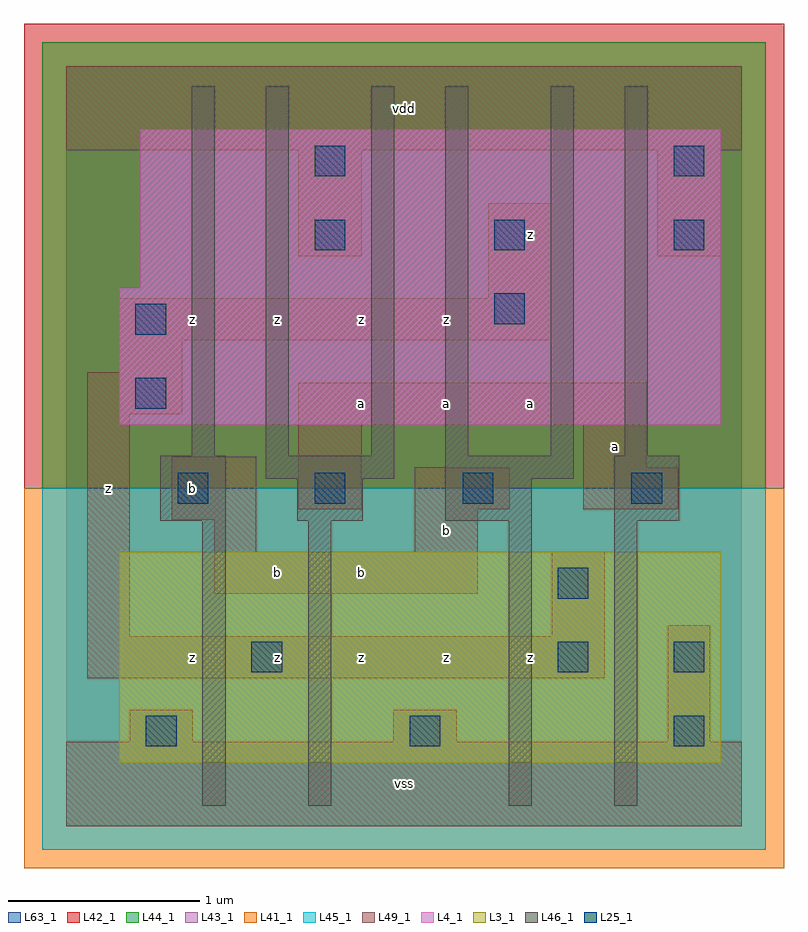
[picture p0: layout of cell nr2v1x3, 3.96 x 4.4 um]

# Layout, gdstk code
import gdstk
lib = gdstk.Library(unit=1e-6, precision=1e-09)
def R(c, l, rs):  # rectangles x0, y0, x1, y1
    for r in rs: c.add(gdstk.rectangle(r[:2], r[2:], *l))
def A(c, l, x, y, w, h, nx, ny, dx, dy):  # array of equal rectangles
    R(c, l, [(x+i*dx, y+j*dy, x+i*dx+w, y+j*dy+h) for i in range(nx) for j in range(ny)])
L3_1 = (3, 1)
L4_1 = (4, 1)
L25_1 = (25, 1)
L41_1 = (41, 1)
L42_1 = (42, 1)
L43_1 = (43, 1)
L44_1 = (44, 1)
L45_1 = (45, 1)
L46_1 = (46, 1)
L49_1 = (49, 1)
L63_1 = (63, 1)

nr2v1x3 = lib.new_cell('nr2v1x3')
R(nr2v1x3, L3_1, [(0.275,0.33,3.41,1.43)])
R(nr2v1x3, L4_1, [(0.275,2.09,3.41,2.805), (0.385,2.805,3.41,3.63)])
A(nr2v1x3, L25_1, 0.415, 0.415, 0.16, 0.16, 3, 1, 1.375, 0)
A(nr2v1x3, L25_1, 1.295, 3, 0.16, 0.16, 3, 1, 0.935, 0)
R(nr2v1x3, L25_1, [(0.965,0.8,1.125,0.96), (2.56,0.8,2.72,0.96), (3.165,0.8,3.325,0.96), (2.56,1.185,2.72,1.345), (0.58,1.68,0.74,1.84), (1.295,1.68,1.455,1.84), (2.065,1.68,2.225,1.84), (2.945,1.68,3.105,1.84), (0.36,2.175,0.52,2.335), (0.36,2.56,0.52,2.72), (2.23,2.615,2.39,2.775), (1.295,3.385,1.455,3.545), (3.165,3.385,3.325,3.545)])
R(nr2v1x3, L41_1, [(-0.22,-0.22,3.74,1.76)])
R(nr2v1x3, L42_1, [(-0.22,1.76,3.74,4.18)])
R(nr2v1x3, L43_1, [(0.275,0.33,3.41,1.43), (0.275,2.09,3.41,2.805), (0.385,2.805,3.41,3.63)])
R(nr2v1x3, L44_1, [(-0.125,1.76,3.645,4.085)])
R(nr2v1x3, L45_1, [(-0.125,-0.125,3.645,1.76)])
R(nr2v1x3, L46_1, [(0.71,0.105,0.83,1.59), (1.26,0.105,1.38,1.59), (2.305,0.105,2.425,1.59), (2.855,0.105,2.975,1.59), (0.49,1.59,0.83,1.93), (1.205,1.59,1.545,1.81), (1.975,1.59,2.425,1.81), (2.855,1.59,3.195,1.93), (1.04,1.81,1.71,1.93), (1.975,1.81,2.645,1.93), (0.655,1.93,0.775,3.855), (1.04,1.93,1.16,3.855), (1.59,1.93,1.71,3.855), (1.975,1.93,2.095,3.855), (2.525,1.93,2.645,3.855), (2.91,1.93,3.03,3.855)])
R(nr2v1x3, L49_1, [(0,0,3.52,0.44), (0.33,0.44,0.66,0.605), (1.705,0.44,2.035,0.605), (3.135,0.44,3.355,1.045), (0.11,0.77,2.805,0.99), (0.11,0.99,0.33,2.145), (2.53,0.99,2.805,1.43), (0.77,1.21,2.145,1.43), (0.77,1.43,0.99,1.595), (1.815,1.43,2.145,1.65), (0.55,1.595,0.99,1.925), (1.21,1.65,1.54,2.09), (1.815,1.65,2.31,1.87), (2.695,1.65,3.19,1.87), (2.695,1.87,3.025,2.09), (1.21,2.09,3.025,2.31), (0.11,2.145,0.605,2.365), (0.275,2.365,0.605,2.53), (0.275,2.53,2.53,2.75), (2.2,2.75,2.53,3.245), (1.21,2.97,1.54,3.52), (3.08,2.97,3.41,3.52), (0,3.52,3.52,3.96)])
R(nr2v1x3, L63_1, [(0,0,3.52,3.96)])
nr2v1x3.add(gdstk.Label('z', (0.22,1.76), layer=49, texttype=1))
nr2v1x3.add(gdstk.Label('z', (1.1,0.88), layer=49, texttype=1))
nr2v1x3.add(gdstk.Label('z', (0.66,0.88), layer=49, texttype=1))
nr2v1x3.add(gdstk.Label('b', (1.1,1.32), layer=49, texttype=1))
nr2v1x3.add(gdstk.Label('b', (0.66,1.76), layer=49, texttype=1))
nr2v1x3.add(gdstk.Label('z', (0.66,2.64), layer=49, texttype=1))
nr2v1x3.add(gdstk.Label('z', (1.1,2.64), layer=49, texttype=1))
nr2v1x3.add(gdstk.Label('vss', (1.76,0.22), layer=49, texttype=1))
nr2v1x3.add(gdstk.Label('z', (1.98,0.88), layer=49, texttype=1))
nr2v1x3.add(gdstk.Label('z', (1.54,0.88), layer=49, texttype=1))
nr2v1x3.add(gdstk.Label('b', (1.54,1.32), layer=49, texttype=1))
nr2v1x3.add(gdstk.Label('b', (1.98,1.54), layer=49, texttype=1))
nr2v1x3.add(gdstk.Label('a', (1.54,2.2), layer=49, texttype=1))
nr2v1x3.add(gdstk.Label('a', (1.98,2.2), layer=49, texttype=1))
nr2v1x3.add(gdstk.Label('z', (1.54,2.64), layer=49, texttype=1))
nr2v1x3.add(gdstk.Label('z', (1.98,2.64), layer=49, texttype=1))
nr2v1x3.add(gdstk.Label('vdd', (1.76,3.74), layer=49, texttype=1))
nr2v1x3.add(gdstk.Label('z', (2.42,0.88), layer=49, texttype=1))
nr2v1x3.add(gdstk.Label('a', (2.42,2.2), layer=49, texttype=1))
nr2v1x3.add(gdstk.Label('z', (2.42,3.08), layer=49, texttype=1))
nr2v1x3.add(gdstk.Label('a', (2.86,1.98), layer=49, texttype=1))

lib.write_gds('nr2v1x3.gds')
